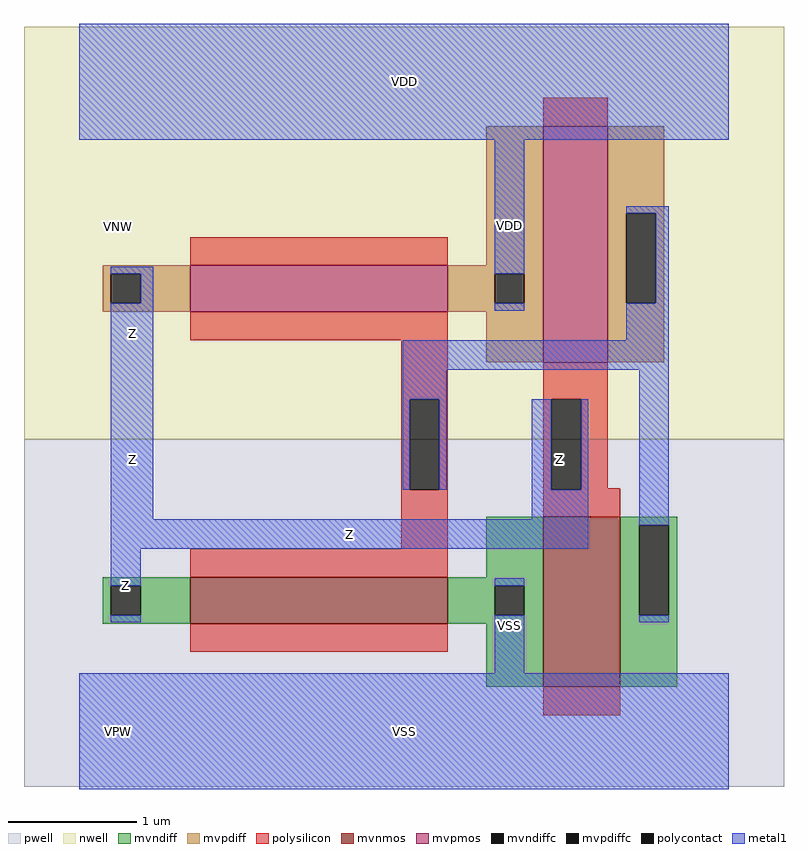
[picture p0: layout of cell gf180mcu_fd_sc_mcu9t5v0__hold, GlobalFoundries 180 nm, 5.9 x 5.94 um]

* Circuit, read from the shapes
.subckt gf180mcu_fd_sc_mcu9t5v0__hold Z VDD VNW VPW VSS
XM1 VSS n1 Z VPW nfet_06v0 w=0.36u l=2u
XM2 n1 Z VSS VPW nfet_06v0 w=1.32u l=0.6u
XM3 VDD n1 Z VNW pfet_06v0 w=0.36u l=2u
XM4 n1 Z VDD VNW pfet_06v0 w=1.83u l=0.5u
.ends

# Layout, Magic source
magic
tech gf180mcuD
magscale 1 10
<< nwell >>
rect -86 453 1094 1094
<< pwell >>
rect -86 -86 1094 453
<< mvnmos >>
rect 172 167 572 239
rect 720 69 840 333
<< mvpmos >>
rect 172 651 572 723
rect 720 573 820 939
<< mvndiff >>
rect 632 239 720 333
rect 36 226 172 239
rect 36 180 49 226
rect 95 180 172 226
rect 36 167 172 180
rect 572 226 720 239
rect 572 180 645 226
rect 691 180 720 226
rect 572 167 720 180
rect 632 69 720 167
rect 840 320 928 333
rect 840 180 869 320
rect 915 180 928 320
rect 840 69 928 180
<< mvpdiff >>
rect 632 723 720 939
rect 36 710 172 723
rect 36 664 49 710
rect 95 664 172 710
rect 36 651 172 664
rect 572 710 720 723
rect 572 664 645 710
rect 691 664 720 710
rect 572 651 720 664
rect 632 573 720 651
rect 820 804 908 939
rect 820 664 849 804
rect 895 664 908 804
rect 820 573 908 664
<< mvndiffc >>
rect 49 180 95 226
rect 645 180 691 226
rect 869 180 915 320
<< mvpdiffc >>
rect 49 664 95 710
rect 645 664 691 710
rect 849 664 895 804
<< polysilicon >>
rect 720 939 820 983
rect 172 723 572 767
rect 172 607 572 651
rect 500 515 572 607
rect 500 375 513 515
rect 559 375 572 515
rect 500 283 572 375
rect 720 515 820 573
rect 720 375 733 515
rect 779 377 820 515
rect 779 375 840 377
rect 720 333 840 375
rect 172 239 572 283
rect 172 123 572 167
rect 720 25 840 69
<< polycontact >>
rect 513 375 559 515
rect 733 375 779 515
<< metal1 >>
rect 0 918 1008 1098
rect 49 710 115 721
rect 95 664 115 710
rect 49 329 115 664
rect 645 710 691 918
rect 645 653 691 664
rect 849 804 915 815
rect 895 664 915 804
rect 849 607 915 664
rect 502 561 915 607
rect 502 515 570 561
rect 502 375 513 515
rect 559 375 570 515
rect 702 375 733 515
rect 779 375 790 515
rect 702 329 790 375
rect 49 283 790 329
rect 869 320 915 561
rect 49 226 95 283
rect 49 169 95 180
rect 645 226 691 237
rect 645 90 691 180
rect 869 169 915 180
rect 0 -90 1008 90
<< labels >>
flabel metal1 s 49 515 115 721 0 FreeSans 200 0 0 0 Z
port 1 nsew default bidirectional
flabel metal1 s 645 90 691 237 0 FreeSans 200 0 0 0 VSS
port 5 nsew ground bidirectional abutment
flabel metal1 s 0 918 1008 1098 0 FreeSans 200 0 0 0 VDD
port 2 nsew power bidirectional abutment
flabel nwell s 10 734 110 834 0 FreeSans 400 0 0 0 VNW
port 3 nsew power bidirectional
flabel pwell s 10 -50 110 50 0 FreeSans 400 0 0 0 VPW
port 4 nsew ground bidirectional
rlabel metal1 s 702 329 790 515 1 Z
port 1 nsew default bidirectional
rlabel metal1 s 49 329 115 515 1 Z
port 1 nsew default bidirectional
rlabel metal1 s 49 283 790 329 1 Z
port 1 nsew default bidirectional
rlabel metal1 s 49 169 95 283 1 Z
port 1 nsew default bidirectional
rlabel metal1 s 645 653 691 918 1 VDD
port 2 nsew power bidirectional abutment
rlabel metal1 s 0 -90 1008 90 1 VSS
port 5 nsew ground bidirectional abutment
<< properties >>
string FIXED_BBOX 0 0 1008 1008
string GDS_END 819436
string GDS_FILE $PDKPATH/libs.ref/gf180mcu_fd_sc_mcu9t5v0/gds/gf180mcu_fd_sc_mcu9t5v0.gds
string GDS_START 816788
string LEFclass core
string LEFsite GF018hv5v_green_sc9
string LEFsymmetry X Y
<< end >>
